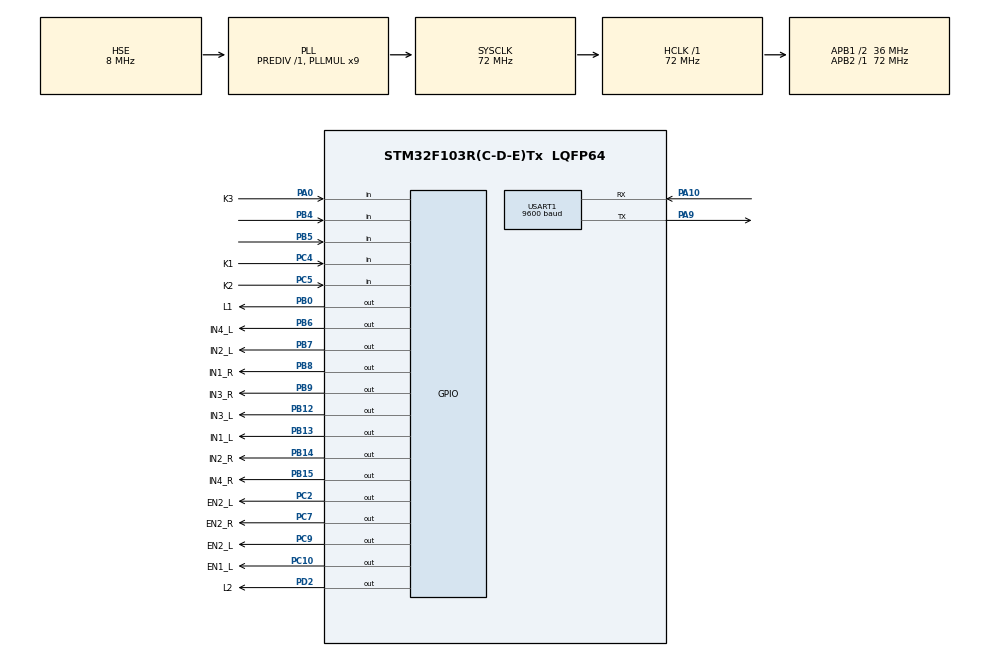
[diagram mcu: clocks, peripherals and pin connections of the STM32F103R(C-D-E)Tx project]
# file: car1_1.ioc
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Mcu.Family=STM32F1
Mcu.Name=STM32F103R(C-D-E)Tx
Mcu.Package=LQFP64
NVIC.PriorityGroup=NVIC_PRIORITYGROUP_2
NVIC.TIM3_IRQn=true\:1\:1\:true\:false\:true\:true\:true\:true
NVIC.USART1_IRQn=true\:1\:2\:true\:false\:true\:true\:true\:true
PA0-WKUP.GPIO_Label=K3
PA0-WKUP.GPIO_PuPd=GPIO_PULLDOWN
PA0-WKUP.Signal=GPIO_Input
PA10.Mode=Asynchronous
PA10.Signal=USART1_RX
PA13.Mode=Serial_Wire
PA13.Signal=SYS_JTMS-SWDIO
PA14.Mode=Serial_Wire
PA14.Signal=SYS_JTCK-SWCLK
PA9.Mode=Asynchronous
PA9.Signal=USART1_TX
PB0.GPIO_Label=L1
PB0.PinState=GPIO_PIN_SET
PB0.Signal=GPIO_Output
PB12.GPIO_Label=IN3_L
PB12.Signal=GPIO_Output
PB13.GPIO_Label=IN1_L
PB13.Signal=GPIO_Output
PB14.GPIO_Label=IN2_R
PB14.Signal=GPIO_Output
PB15.GPIO_Label=IN4_R
PB15.Signal=GPIO_Output
PB4.GPIO_PuPd=GPIO_PULLUP
PB4.Signal=GPIO_Input
PB5.GPIO_PuPd=GPIO_PULLUP
PB5.Signal=GPIO_Input
PB6.GPIO_Label=IN4_L
PB6.Signal=GPIO_Output
PB7.GPIO_Label=IN2_L
PB7.Signal=GPIO_Output
PB8.GPIO_Label=IN1_R
PB8.Signal=GPIO_Output
PB9.GPIO_Label=IN3_R
PB9.Signal=GPIO_Output
PC10.GPIO_Label=EN1_L
PC10.Signal=GPIO_Output
PC2.GPIO_Label=EN2_L
PC2.Signal=GPIO_Output
PC4.GPIO_Label=K1
PC4.GPIO_PuPd=GPIO_PULLUP
PC4.Signal=GPIO_Input
PC5.GPIO_Label=K2
PC5.GPIO_PuPd=GPIO_PULLUP
PC5.Signal=GPIO_Input
PC7.GPIO_Label=EN2_R
PC7.Signal=GPIO_Output
PC9.GPIO_Label=EN2_L
PC9.Signal=GPIO_Output
PD0-OSC_IN.Mode=HSE-External-Oscillator
PD0-OSC_IN.Signal=RCC_OSC_IN
PD1-OSC_OUT.Mode=HSE-External-Oscillator
PD1-OSC_OUT.Signal=RCC_OSC_OUT
PD2.GPIO_Label=L2
PD2.PinState=GPIO_PIN_SET
PD2.Signal=GPIO_Output
ProjectManager.HeapSize=0x200
ProjectManager.StackSize=0x400
ProjectManager.TargetToolchain=STM32CubeIDE
RCC.ADCPresc=RCC_ADCPCLK2_DIV6
RCC.AHBFreq_Value=72000000
RCC.APB1CLKDivider=RCC_HCLK_DIV2
RCC.APB1Freq_Value=36000000
RCC.APB1TimFreq_Value=72000000
RCC.APB2Freq_Value=72000000
RCC.APB2TimFreq_Value=72000000
RCC.HCLKFreq_Value=72000000
RCC.PLLMUL=RCC_PLL_MUL9
RCC.PLLSourceVirtual=RCC_PLLSOURCE_HSE
RCC.SYSCLKFreq_VALUE=72000000
RCC.SYSCLKSource=RCC_SYSCLKSOURCE_PLLCLK
RCC.USBFreq_Value=72000000
TIM3.Period=9
TIM3.Prescaler=7199
USART1.BaudRate=9600
USART1.VirtualMode=VM_ASYNC
VP_TIM3_VS_ClockSourceINT.Mode=Internal
board=custom

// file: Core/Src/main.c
/* USER CODE BEGIN Header */
/**
 ******************************************************************************
 * @file           : main.c
 * @brief          : Main program body
 ******************************************************************************
 * @attention
 *
 * Copyright (c) 2025 STMicroelectronics.
 * All rights reserved.
 *
 * This software is licensed under terms that can be found in the LICENSE file
 * in the root directory of this software component.
 * If no LICENSE file comes with this software, it is provided AS-IS.
 *
 ******************************************************************************
 */
/* USER CODE END Header */
#include "main.h"
#include "tim.h"
#include "usart.h"
#include "gpio.h"

/* USER CODE BEGIN Includes */
#include "String.h"
#include "stdio.h"
#include "control.h"
#include "blt.h"
/* USER CODE END Includes */

/* USER CODE BEGIN PV */

// 接收相关变量

// 路径规划相关变量

// 接收完成回调函数
void HAL_UART_RxCpltCallback(UART_HandleTypeDef *huart) {
    if (huart->Instance == USART1)
    {
        // 将接收到的数据存入缓冲区
        if (rx_index < 7)
        {
            rx_buffer[rx_index++] = rx_data;

            // 简单解析：检测结束标志
            if (rx_data == CMD_END && rx_index >= 7)  // 最少7个字节：开始+命令+x(2)+y(2)+结束
            {
                command_received = 1;
                Parse_Command();
                rx_index = 0;  // 清空缓冲区
            }
        }
        //uint8_t len = strlen(rx_buffer);
        //HAL_UART_Transmit(&huart1,rx_buffer,len,0xffff);
        HAL_UART_Receive_IT(&huart1, &rx_data, 1);
    }
}

int detect_keys(){
	if(HAL_GPIO_ReadPin(K1_GPIO_Port, K1_Pin) == GPIO_PIN_RESET &&
			HAL_GPIO_ReadPin(K2_GPIO_Port, K2_Pin) == GPIO_PIN_SET &&
			HAL_GPIO_ReadPin(K3_GPIO_Port, K3_Pin) == GPIO_PIN_RESET)
		return 1;
	else if(HAL_GPIO_ReadPin(K1_GPIO_Port, K1_Pin) == GPIO_PIN_SET &&
			HAL_GPIO_ReadPin(K2_GPIO_Port, K2_Pin) == GPIO_PIN_RESET &&
			HAL_GPIO_ReadPin(K3_GPIO_Port, K3_Pin) == GPIO_PIN_RESET)
		return 2;
	else if(HAL_GPIO_ReadPin(K1_GPIO_Port, K1_Pin) == GPIO_PIN_SET &&
			HAL_GPIO_ReadPin(K2_GPIO_Port, K2_Pin) == GPIO_PIN_SET &&
			HAL_GPIO_ReadPin(K3_GPIO_Port, K3_Pin) == GPIO_PIN_SET)
		return 3;
	else
		return 0;
}

/* USER CODE END PV */

void SystemClock_Config(void);

int main(void)
{

  /* MCU Configuration--------------------------------------------------------*/

  /* Reset of all peripherals, Initializes the Flash interface and the Systick. */
  HAL_Init();

  /* Configure the system clock */
  SystemClock_Config();

  /* Initialize all configured peripherals */
  MX_GPIO_Init();
  MX_TIM3_Init();
  MX_USART1_UART_Init();
  /* USER CODE BEGIN 2 */
	turn_in_place(1);
	HAL_Delay(500);
	Bluetooth_Init();

  /* USER CODE END 2 */

  /* Infinite loop */
	while (1)
	{

    /* USER CODE BEGIN 3 */
		int key = detect_keys();
		/*if(rxBuffer[1] == 'r'){
			key = 1;
		}*/
		if (key == 1) {
			//char buf[32];
			//int len = sprintf(buf, "MODE1\r\n");
			//HAL_UART_Transmit(&huart1,(uint8_t *)buf,len,0xffff);
			mode1_loop(); // 路径规划模式
		}
		else if (key == 2) {
			mode2_loop(); // 红外跟踪模式
		}
		else {
			stop_motors();
		}
//		HAL_UART_Transmit(&huart1, (uint8_t *)"01234", 5, 0xffff);
//		HAL_Delay(1000);
	}
  /* USER CODE END 3 */
}

void SystemClock_Config(void)
{
  RCC_OscInitTypeDef RCC_OscInitStruct = {0};
  RCC_ClkInitTypeDef RCC_ClkInitStruct = {0};

  /** Initializes the RCC Oscillators according to the specified parameters
  * in the RCC_OscInitTypeDef structure.
  */
  RCC_OscInitStruct.OscillatorType = RCC_OSCILLATORTYPE_HSE;
  RCC_OscInitStruct.HSEState = RCC_HSE_ON;
  RCC_OscInitStruct.HSEPredivValue = RCC_HSE_PREDIV_DIV1;
  RCC_OscInitStruct.HSIState = RCC_HSI_ON;
  RCC_OscInitStruct.PLL.PLLState = RCC_PLL_ON;
  RCC_OscInitStruct.PLL.PLLSource = RCC_PLLSOURCE_HSE;
  RCC_OscInitStruct.PLL.PLLMUL = RCC_PLL_MUL9;
  if (HAL_RCC_OscConfig(&RCC_OscInitStruct) != HAL_OK)
  {
    Error_Handler();
  }

  /** Initializes the CPU, AHB and APB buses clocks
  */
  RCC_ClkInitStruct.ClockType = RCC_CLOCKTYPE_HCLK|RCC_CLOCKTYPE_SYSCLK
                              |RCC_CLOCKTYPE_PCLK1|RCC_CLOCKTYPE_PCLK2;
  RCC_ClkInitStruct.SYSCLKSource = RCC_SYSCLKSOURCE_PLLCLK;
  RCC_ClkInitStruct.AHBCLKDivider = RCC_SYSCLK_DIV1;
  RCC_ClkInitStruct.APB1CLKDivider = RCC_HCLK_DIV2;
  RCC_ClkInitStruct.APB2CLKDivider = RCC_HCLK_DIV1;

  if (HAL_RCC_ClockConfig(&RCC_ClkInitStruct, FLASH_LATENCY_2) != HAL_OK)
  {
    Error_Handler();
  }
}

void Error_Handler(void)
{
	__disable_irq();
	while (1)
	{
	}
}
